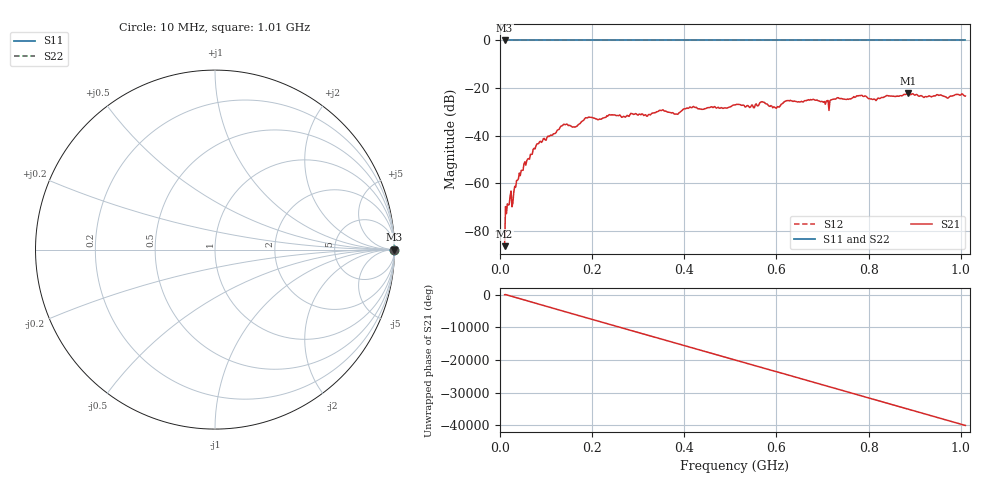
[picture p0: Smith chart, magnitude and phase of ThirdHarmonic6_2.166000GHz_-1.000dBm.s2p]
! 8/17/2025 1:51:06 AM
! C:\ANRITSUVNA\TEMP\TEMP.S2P
! CHANNEL.1
! TR.MEASUREMENT
! RAW.DATA
! RF.CORRECTION.OFF
! AVERAGING.OFF
! IF.BANDWIDTH: 5KHZ
! SWEEPTYPE:  FREQ.SWEEP(Linear)
! Reference Plane Port Info
! PORT:  PORT1  PORT2
! DISTANCE:  0  m  0  m
! TIME:  0  s  0  s
! PHASE.OFFSET:  0  deg.  0  deg.
! LOSS:  0  dB  0  dB
! REF.LOSS:  0  dB  0  dB
! REF.FREQ:  0  Hz  0  Hz
! Power Info
! POWER:  -20  dBm  -20  dBm
! EFF.POWER:  -20  dBm  -20  dBm
! SOURCE.ATTEN:  0  dB  0  dB
! TEST.ATTEN:  0  dB  0  dB
# GHZ S RI R 50.0
! FREQ.GHZ  S11RE  S11IM  S21RE  S21IM  S12RE  S12IM  S22RE  S22IM
!; PortSelection: Port_12
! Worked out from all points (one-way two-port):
!   501 points, 10 MHz to 1.01 GHz, reference 50 ohm
!   highest |S21| = -22.15 dB at 886 MHz (marker M1); lowest = -86.3 dB at 10 MHz (marker M2)
!   lowest |S11| = 0.0 dB at 10 MHz (marker M3)
!   |S11| at or under -10 dB: nowhere
!   |S22| runs from 0.0 to 0.0 dB; largest |S21 - S12| = 1.1
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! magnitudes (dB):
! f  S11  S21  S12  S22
! 10 MHz  0.0  -86.3  0.0  0.0
! 20 MHz  0.0  -68.8  0.0  0.0
! 30 MHz  0.0  -63.5  0.0  0.0
! 34 MHz  0.0  -61.6  0.0  0.0
! 50 MHz  0.0  -54.5  0.0  0.0
! 76 MHz  0.0  -45.6  0.0  0.0
! 136 MHz  0.0  -35.6  0.0  0.0
! 162 MHz  0.0  -36.4  0.0  0.0
! 178 MHz  0.0  -33.9  0.0  0.0
! 344 MHz  0.0  -29.7  0.0  0.0
! 382 MHz  0.0  -30.8  0.0  0.0
! 416 MHz  0.0  -28.3  0.0  0.0
! 510 MHz  0.0  -27.0  0.0  0.0
! 570 MHz  0.0  -25.8  0.0  0.0
! 596 MHz  0.0  -28.0  0.0  0.0
! 622 MHz  0.0  -25.3  0.0  0.0
! 678 MHz  0.0  -24.8  0.0  0.0
! 710 MHz  0.0  -25.3  0.0  0.0
! 732 MHz  0.0  -24.0  0.0  0.0
! 844 MHz  0.0  -23.3  0.0  0.0
! 886 MHz  0.0  -22.2  0.0  0.0
! 1.01 GHz  0.0  -23.3  0.0  0.0
